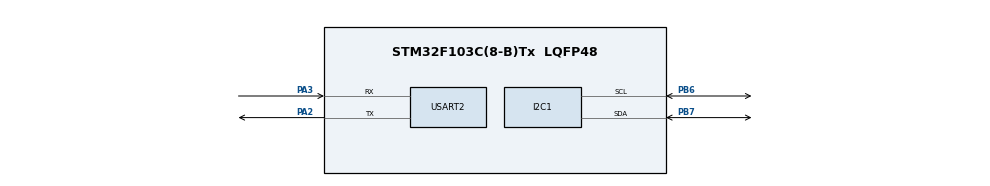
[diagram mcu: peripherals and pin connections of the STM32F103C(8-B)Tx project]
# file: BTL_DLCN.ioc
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Mcu.Family=STM32F1
Mcu.Name=STM32F103C(8-B)Tx
Mcu.Package=LQFP48
NVIC.PriorityGroup=NVIC_PRIORITYGROUP_4
PA13.Mode=Serial_Wire
PA13.Signal=SYS_JTMS-SWDIO
PA14.Mode=Serial_Wire
PA14.Signal=SYS_JTCK-SWCLK
PA2.Mode=Asynchronous
PA2.Signal=USART2_TX
PA3.Mode=Asynchronous
PA3.Signal=USART2_RX
PB6.Mode=I2C
PB6.Signal=I2C1_SCL
PB7.Mode=I2C
PB7.Signal=I2C1_SDA
PD0-OSC_IN.Mode=HSE-External-Oscillator
PD0-OSC_IN.Signal=RCC_OSC_IN
PD1-OSC_OUT.Mode=HSE-External-Oscillator
PD1-OSC_OUT.Signal=RCC_OSC_OUT
ProjectManager.HeapSize=0x200
ProjectManager.StackSize=0x400
ProjectManager.TargetToolchain=STM32CubeIDE
RCC.APB1Freq_Value=8000000
RCC.APB2Freq_Value=8000000
USART2.VirtualMode=VM_ASYNC
board=custom

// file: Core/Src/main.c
/* USER CODE BEGIN Header */
/**
  ******************************************************************************
  * @file           : main.c
  * @brief          : Main program body
  ******************************************************************************
  * @attention
  *
  * Copyright (c) 2024 STMicroelectronics.
  * All rights reserved.
  *
  * This software is licensed under terms that can be found in the LICENSE file
  * in the root directory of this software component.
  * If no LICENSE file comes with this software, it is provided AS-IS.
  *
  ******************************************************************************
  */
/* USER CODE END Header */
#include "main.h"

/* USER CODE BEGIN Includes */
#include <stdio.h>
#include <imu.h>
#include <string.h>
/* USER CODE END Includes */

/* USER CODE BEGIN PM */
#define FRAME  "\n%s%06d %s%06d %s%06d \r"
#define SIGN(X) ((X)>=0)?" ":"-"
#define ABS(X) ((X)>=0)?((X)):(-(X))

#define RAD_TO_DEG 57.295779513082320876798154814105f
#define DEG_TO_RAD 0.017453292519943295769236907684886f
/* USER CODE END PM */

I2C_HandleTypeDef hi2c1;

UART_HandleTypeDef huart2;

/* USER CODE BEGIN PV */
MPU6050_t MPU6050;
uint32_t time_example 	= 100; // 10ms
uint32_t time_current 	= 0;

char data[100];
int ax,ay,az,gx,gy,gz,datax, datay,dataz;
int mx, my, mz;
/* USER CODE END PV */

void SystemClock_Config(void);
static void MX_GPIO_Init(void);
static void MX_I2C1_Init(void);
static void MX_USART2_UART_Init(void);

int main(void)
{

  /* MCU Configuration--------------------------------------------------------*/

  /* Reset of all peripherals, Initializes the Flash interface and the Systick. */
  HAL_Init();

  /* Configure the system clock */
  SystemClock_Config();

  /* Initialize all configured peripherals */
  MX_GPIO_Init();
  MX_I2C1_Init();
  MX_USART2_UART_Init();
  /* USER CODE BEGIN 2 */
  while (MPU6050_Init(&hi2c1) == 1);

  /* USER CODE END 2 */

  /* Infinite loop */
  while (1)
  {

    /* USER CODE BEGIN 3 */
	  if (HAL_GetTick()- time_current >= time_example)
	 	   	  {
	 	   		 time_current = HAL_GetTick();
	 	   		 MPU6050_Read_All(&hi2c1,&MPU6050);

	 	   		 datax = RAD_TO_DEG*MPU6050.KalmanAngleX*1000;
	 	   		 datay = RAD_TO_DEG*MPU6050.KalmanAngleY*1000;
	 	   		 dataz = RAD_TO_DEG*MPU6050.KalmanAngleZ*1000;

	 	   		sprintf(data,FRAME,SIGN(datax),ABS(datax),SIGN(datay),ABS(datay),SIGN(dataz),ABS(dataz));
		   		HAL_UART_Transmit(&huart2,(uint8_t*)data, strlen(data), 5);

  }
  }
  /* USER CODE END 3 */
}

void SystemClock_Config(void)
{
  RCC_OscInitTypeDef RCC_OscInitStruct = {0};
  RCC_ClkInitTypeDef RCC_ClkInitStruct = {0};

  /** Initializes the RCC Oscillators according to the specified parameters
  * in the RCC_OscInitTypeDef structure.
  */
  RCC_OscInitStruct.OscillatorType = RCC_OSCILLATORTYPE_HSI;
  RCC_OscInitStruct.HSIState = RCC_HSI_ON;
  RCC_OscInitStruct.HSICalibrationValue = RCC_HSICALIBRATION_DEFAULT;
  RCC_OscInitStruct.PLL.PLLState = RCC_PLL_NONE;
  if (HAL_RCC_OscConfig(&RCC_OscInitStruct) != HAL_OK)
  {
    Error_Handler();
  }

  /** Initializes the CPU, AHB and APB buses clocks
  */
  RCC_ClkInitStruct.ClockType = RCC_CLOCKTYPE_HCLK|RCC_CLOCKTYPE_SYSCLK
                              |RCC_CLOCKTYPE_PCLK1|RCC_CLOCKTYPE_PCLK2;
  RCC_ClkInitStruct.SYSCLKSource = RCC_SYSCLKSOURCE_HSI;
  RCC_ClkInitStruct.AHBCLKDivider = RCC_SYSCLK_DIV1;
  RCC_ClkInitStruct.APB1CLKDivider = RCC_HCLK_DIV1;
  RCC_ClkInitStruct.APB2CLKDivider = RCC_HCLK_DIV1;

  if (HAL_RCC_ClockConfig(&RCC_ClkInitStruct, FLASH_LATENCY_0) != HAL_OK)
  {
    Error_Handler();
  }
}

static void MX_I2C1_Init(void)
{

  hi2c1.Instance = I2C1;
  hi2c1.Init.ClockSpeed = 100000;
  hi2c1.Init.DutyCycle = I2C_DUTYCYCLE_2;
  hi2c1.Init.OwnAddress1 = 0;
  hi2c1.Init.AddressingMode = I2C_ADDRESSINGMODE_7BIT;
  hi2c1.Init.DualAddressMode = I2C_DUALADDRESS_DISABLE;
  hi2c1.Init.OwnAddress2 = 0;
  hi2c1.Init.GeneralCallMode = I2C_GENERALCALL_DISABLE;
  hi2c1.Init.NoStretchMode = I2C_NOSTRETCH_DISABLE;
  if (HAL_I2C_Init(&hi2c1) != HAL_OK)
  {
    Error_Handler();
  }

}

static void MX_USART2_UART_Init(void)
{

  huart2.Instance = USART2;
  huart2.Init.BaudRate = 115200;
  huart2.Init.WordLength = UART_WORDLENGTH_8B;
  huart2.Init.StopBits = UART_STOPBITS_1;
  huart2.Init.Parity = UART_PARITY_NONE;
  huart2.Init.Mode = UART_MODE_TX_RX;
  huart2.Init.HwFlowCtl = UART_HWCONTROL_NONE;
  huart2.Init.OverSampling = UART_OVERSAMPLING_16;
  if (HAL_UART_Init(&huart2) != HAL_OK)
  {
    Error_Handler();
  }

}

static void MX_GPIO_Init(void)
{

  /* GPIO Ports Clock Enable */
  __HAL_RCC_GPIOD_CLK_ENABLE();
  __HAL_RCC_GPIOA_CLK_ENABLE();
  __HAL_RCC_GPIOB_CLK_ENABLE();

}

void Error_Handler(void)
{
  __disable_irq();
  while (1)
  {
  }
}
